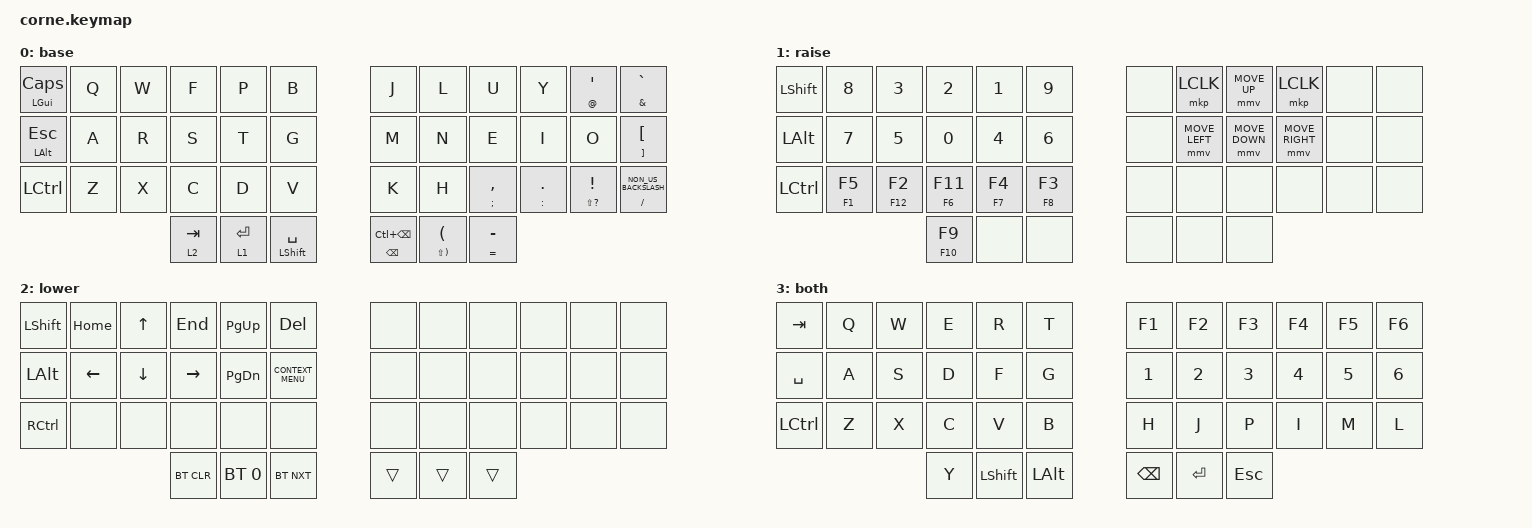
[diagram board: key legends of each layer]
/*
 * Copyright (c) 2020 The ZMK Contributors
 *
 * SPDX-License-Identifier: MIT
 */

#include <behaviors.dtsi>
#include <dt-bindings/zmk/bt.h>
#include <dt-bindings/zmk/keys.h>
#include <dt-bindings/zmk/pointing.h>

/ {
    behaviors {
        new_behavior: new_behavior {
            compatible = "zmk,behavior-hold-tap";
            label = "NEW_BEHAVIOR";
            bindings = <&none>, <&none>;

            #binding-cells = <2>;
            tapping-term-ms = <800>;
        };
    };

    combos {
        compatible = "zmk,combos";

        GameLayer {
            bindings = <&to 3>;
            key-positions = <11 23>;
            layers = <0>;
        };

        NavigationLayer {
            bindings = <&to 2>;
            key-positions = <22 10>;
            layers = <0>;
        };

        at {
            bindings = <&kp HASH>;
            key-positions = <15 16>;
        };

        dollar {
            bindings = <&kp DOLLAR>;
            key-positions = <16 17>;
        };

        star {
            bindings = <&kp PERCENT>;
            key-positions = <3 4>;
        };

        caret {
            bindings = <&kp CARET>;
            key-positions = <4 5>;
        };

        back {
            bindings = <&to 0>;
            key-positions = <11 23>;
            layers = <3 2>;
        };

        percent {
            bindings = <&kp PERCENT>;
            key-positions = <15 14>;
        };

        Console {
            bindings = <&kp GRAVE>;
            key-positions = <34 35>;
        };
    };

    keymap {
        compatible = "zmk,keymap";

        base {
            // -----------------------------------------------------------------------------------------
            // |  TAB |  Q  |  W  |  E  |  R  |  T  |   |  Y  |  U   |  I  |  O  |  P  | BKSP |
            // | CTRL |  A  |  S  |  D  |  F  |  G  |   |  H  |  J   |  K  |  L  |  ;  |  '   |
            // | SHFT |  Z  |  X  |  C  |  V  |  B  |   |  N  |  M   |  ,  |  .  |  /  | ESC  |
            //                    | GUI | LWR | SPC |   | ENT | RSE  | ALT |

            bindings = <
&mt LGUI CAPSLOCK  &kp Q  &kp W  &kp F      &kp P        &kp B              &kp J                        &kp L                          &kp U            &kp Y          &mt AT_SIGN SQT               &mt AMPERSAND GRAVE
&mt LALT ESC       &kp A  &kp R  &kp S      &kp T        &kp G              &kp M                        &kp N                          &kp E            &kp I          &kp O                         &mt RIGHT_BRACKET LEFT_BRACKET
&kp LCTRL          &kp Z  &kp X  &kp C      &kp D        &kp V              &kp K                        &kp H                          &mt SEMI COMMA   &mt COLON DOT  &mt LS(QUESTION) EXCLAMATION  &mt FSLH NON_US_BACKSLASH
                                 &lt 2 TAB  &lt 1 ENTER  &mt LSHFT SPACE    &mt BACKSPACE LC(BACKSPACE)  &mt LS(RPAR) LEFT_PARENTHESIS  &mt EQUAL MINUS
            >;
        };

        raise {
            // -----------------------------------------------------------------------------------------
            // |  TAB |  1  |  2  |  3  |  4  |  5  |   |  6  |  7  |  8  |  9  |  0  | BKSP |
            // | BTCLR| BT1 | BT2 | BT3 | BT4 | BT5 |   | LFT | DWN |  UP | RGT |     |      |
            // | SHFT |     |     |     |     |     |   |     |     |     |     |     |      |
            //                    | GUI |     | SPC |   | ENT |     | ALT |

            bindings = <
&kp LSHFT  &kp N8     &kp N3      &kp N2      &kp N1     &kp N9       &none  &mkp LCLK       &mmv MOVE_UP    &mkp LCLK        &none  &none
&kp LALT   &kp N7     &kp N5      &kp N0      &kp N4     &kp N6       &none  &mmv MOVE_LEFT  &mmv MOVE_DOWN  &mmv MOVE_RIGHT  &none  &none
&kp LCTRL  &mt F1 F5  &mt F12 F2  &mt F6 F11  &mt F7 F4  &mt F8 F3    &none  &none           &none           &none            &none  &none
                                  &mt F10 F9  &none      &none        &none  &none           &none
            >;
        };

        lower {
            // -----------------------------------------------------------------------------------------
            // |  TAB |  !  |  @  |  #  |  $  |  %  |   |  ^  |  &  |  *  |  (  |  )  | BKSP |
            // | CTRL |     |     |     |     |     |   |  -  |  =  |  [  |  ]  |  \  |  `   |
            // | SHFT |     |     |     |     |     |   |  _  |  +  |  {  |  }  | "|" |  ~   |
            //                    | GUI |     | SPC |   | ENT |     | ALT |

            bindings = <
&kp LSHFT  &kp HOME  &kp UP    &kp END     &kp PG_UP     &kp DELETE            &none   &none   &none   &none  &none  &none
&kp LALT   &kp LEFT  &kp DOWN  &kp RIGHT   &kp PG_DN     &kp K_CONTEXT_MENU    &none   &none   &none   &none  &none  &none
&kp RCTRL  &none     &none     &none       &none         &none                 &none   &none   &none   &none  &none  &none
                               &bt BT_CLR  &bt BT_SEL 0  &bt BT_NXT            &trans  &trans  &trans
            >;
        };

        both {
            bindings = <
&kp TAB    &kp Q  &kp W  &kp E  &kp R           &kp T           &kp F1         &kp F2     &kp F3      &kp F4  &kp F5  &kp F6
&kp SPACE  &kp A  &kp S  &kp D  &kp F           &kp G           &kp N1         &kp N2     &kp N3      &kp N4  &kp N5  &kp N6
&kp LCTRL  &kp Z  &kp X  &kp C  &kp V           &kp B           &kp H          &kp J      &kp P       &kp I   &kp M   &kp L
                         &kp Y  &kp LEFT_SHIFT  &kp LEFT_ALT    &kp BACKSPACE  &kp ENTER  &kp ESCAPE
            >;
        };
    };
};
